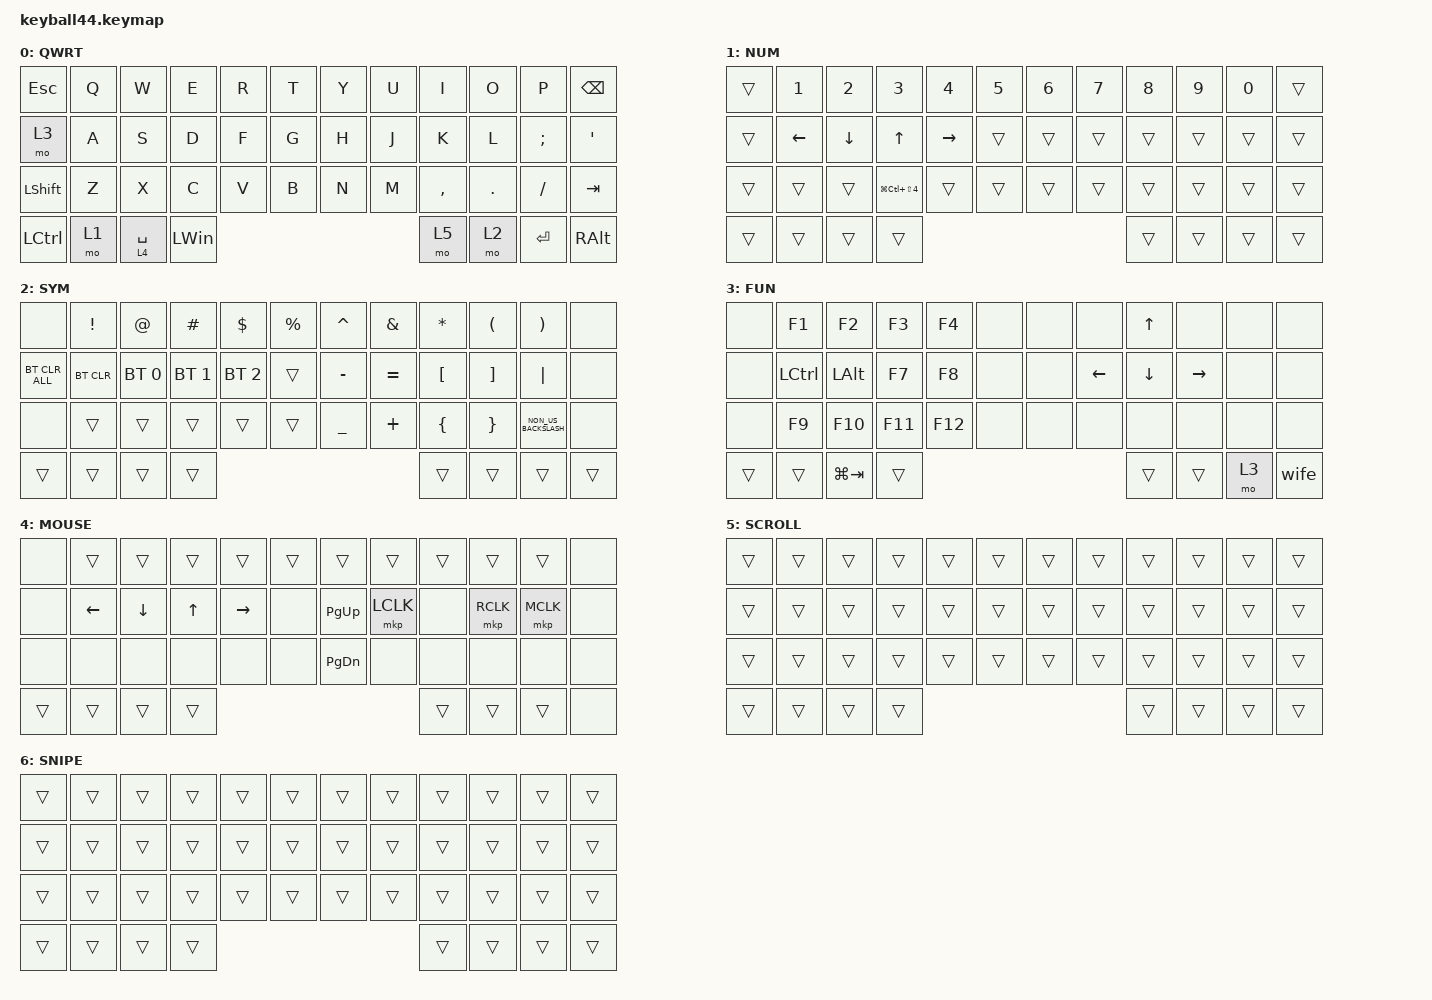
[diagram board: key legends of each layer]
#define DEFAULT 0
#define NUM     1
#define SYM     2
#define FUN     3
#define MOUSE   4
#define SCROLL  5
#define SNIPE   6

#include <behaviors/mouse_keys.dtsi>
#include <dt-bindings/zmk/mouse.h>
#include <behaviors.dtsi>
#include <dt-bindings/zmk/bt.h>
#include <dt-bindings/zmk/keys.h>
#include <dt-bindings/zmk/pointing.h>

&lt {
    tapping-term-ms = <240>;
    flavor = "balanced";
    quick-tap-ms = <150>;
};

&mt {
    tapping-term-ms = <200>;
    flavor = "tap-preferred";
    quick-tap-ms = <150>;
};

&caps_word { continue-list = <UNDERSCORE MINUS>; };

/ {
    // custom shift using mod-morph 

    behaviors {
        cmqus: comma_question {
            compatible = "zmk,behavior-mod-morph";
            label = "COMMA_QUESTION";
            #binding-cells = <0>;
            bindings = <&kp COMMA>, <&kp QUESTION>;

            mods = <(MOD_LSFT|MOD_RSFT)>;
        };

        dtsmi: dot_semi {
            compatible = "zmk,behavior-mod-morph";
            label = "DOT_SEMI";
            #binding-cells = <0>;
            bindings = <&kp DOT>, <&kp SEMI>;

            mods = <(MOD_LSFT|MOD_RSFT)>;
        };
    };

    combos {
        compatible = "zmk,combos";

        right-reset {
            bindings = <&bootloader>;
            key-positions = <10 11>;
        };

        left-reset {
            bindings = <&bootloader>;
            key-positions = <0 1>;
        };
    };

    macros {
        wife: wife {
            compatible = "zmk,behavior-macro";
            #binding-cells = <0>;
            bindings = <&kp W &kp I &kp F &kp E &kp I &kp S &kp LS(Y) &kp I &kp N &kp G &kp H &kp U &kp I &kp LS(L) &kp I>;
            label = "WIFE";
        };
    };

    keymap {
        compatible = "zmk,keymap";

        default_layer {
            label = "QWRT";
            bindings = <
&kp ESCAPE        &kp Q  &kp W        &kp E         &kp R  &kp T             &kp Y      &kp U  &kp I      &kp O    &kp P      &kp BACKSPACE
&mo 3             &kp A  &kp S        &kp D         &kp F  &kp G             &kp H      &kp J  &kp K      &kp L    &kp SEMI   &kp SQT
&kp LEFT_SHIFT    &kp Z  &kp X        &kp C         &kp V  &kp B             &kp N      &kp M  &kp COMMA  &kp DOT  &kp SLASH  &kp TAB
&kp LEFT_CONTROL  &mo 1  &lt 4 SPACE  &kp LEFT_WIN  &mo 5             &mo 2  &kp ENTER                                        &kp RIGHT_ALT
            >;
        };

        number_layer {
            label = "NUM";
            bindings = <
&trans  &kp NUMBER_1  &kp NUMBER_2  &kp NUMBER_3              &kp NUMBER_4  &kp NUMBER_5              &kp NUMBER_6  &kp NUMBER_7  &kp NUMBER_8  &kp NUMBER_9  &kp NUMBER_0  &trans
&trans  &kp LEFT      &kp DOWN      &kp UP_ARROW              &kp RIGHT     &trans                    &trans        &trans        &trans        &trans        &trans        &trans
&trans  &trans        &trans        &kp LG(LC(LS(NUMBER_4)))  &trans        &trans                    &trans        &trans        &trans        &trans        &trans        &trans
&trans  &trans        &trans        &trans                    &trans                          &trans  &trans                                                                &trans
            >;
        };

        symbol_layer {
            label = "SYM";
            bindings = <
&none           &kp EXCLAMATION  &kp AT_SIGN   &kp HASH      &kp DOLLAR    &kp PERCENT              &kp CARET       &kp AMPERSAND  &kp ASTERISK      &kp LEFT_PARENTHESIS  &kp RIGHT_PARENTHESIS  &none
&bt BT_CLR_ALL  &bt BT_CLR       &bt BT_SEL 0  &bt BT_SEL 1  &bt BT_SEL 2  &trans                   &kp MINUS       &kp EQUAL      &kp LEFT_BRACKET  &kp RIGHT_BRACKET     &kp PIPE               &none
&none           &trans           &trans        &trans        &trans        &trans                   &kp UNDERSCORE  &kp PLUS       &kp LEFT_BRACE    &kp RIGHT_BRACE       &kp NON_US_BACKSLASH   &none
&trans          &trans           &trans        &trans        &trans                         &trans  &trans                                                                                        &trans
            >;
        };

        function_layer {
            label = "FUN";
            bindings = <
&none   &kp F1            &kp F2        &kp F3   &kp F4   &none              &none  &none     &kp UP_ARROW    &none      &none  &none
&none   &kp LEFT_CONTROL  &kp LEFT_ALT  &kp F7   &kp F8   &none              &none  &kp LEFT  &kp DOWN_ARROW  &kp RIGHT  &none  &none
&none   &kp F9            &kp F10       &kp F11  &kp F12  &none              &none  &none     &none           &none      &none  &none
&trans  &trans            &kp LG(TAB)   &trans   &trans              &trans  &mo 3                                              &wife
            >;
        };

        mouse_layer {
            label = "MOUSE";
            bindings = <
&none   &trans          &trans          &trans        &trans     &trans              &trans         &trans     &trans  &trans     &trans     &none
&none   &kp LEFT_ARROW  &kp DOWN_ARROW  &kp UP_ARROW  &kp RIGHT  &none               &kp PAGE_UP    &mkp LCLK  &none   &mkp RCLK  &mkp MCLK  &none
&none   &none           &none           &none         &none      &none               &kp PAGE_DOWN  &none      &none   &none      &none      &none
&trans  &trans          &trans          &trans        &trans                 &trans  &trans                                                  &none
            >;
        };

        scroll_layer {
            label = "SCROLL";
            bindings = <
&trans  &trans  &trans  &trans  &trans  &trans              &trans  &trans  &trans  &trans  &trans  &trans
&trans  &trans  &trans  &trans  &trans  &trans              &trans  &trans  &trans  &trans  &trans  &trans
&trans  &trans  &trans  &trans  &trans  &trans              &trans  &trans  &trans  &trans  &trans  &trans
&trans  &trans  &trans  &trans  &trans              &trans  &trans                                  &trans
            >;
        };

        snipe_layer {
            label = "SNIPE";
            bindings = <
&trans  &trans  &trans  &trans  &trans  &trans              &trans  &trans  &trans  &trans  &trans  &trans
&trans  &trans  &trans  &trans  &trans  &trans              &trans  &trans  &trans  &trans  &trans  &trans
&trans  &trans  &trans  &trans  &trans  &trans              &trans  &trans  &trans  &trans  &trans  &trans
&trans  &trans  &trans  &trans  &trans              &trans  &trans                                  &trans
            >;
        };
    };
};
